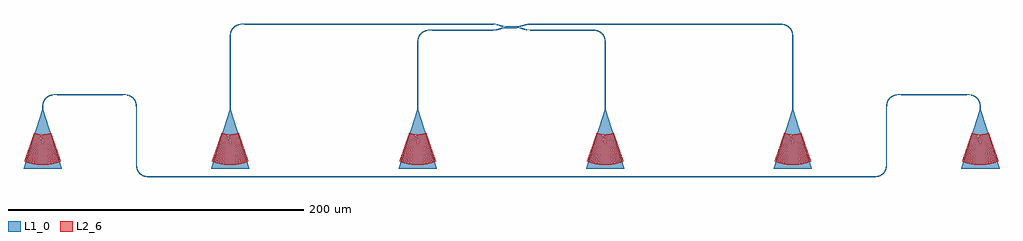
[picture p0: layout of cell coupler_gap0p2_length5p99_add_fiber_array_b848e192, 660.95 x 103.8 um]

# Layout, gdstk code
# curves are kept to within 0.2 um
from math import pi, radians
import gdstk
lib = gdstk.Library(unit=1e-6, precision=1e-09)
def R(c, l, rs):  # rectangles x0, y0, x1, y1
    for r in rs: c.add(gdstk.rectangle(r[:2], r[2:], *l))
def P(c, l, *ps):  # polygons
    for p in ps: c.add(gdstk.Polygon(p, *l))
L1_0 = (1, 0)
L2_6 = (2, 6)

bend_euler_bfe3acbc = lib.new_cell('bend_euler_bfe3acbc')
P(bend_euler_bfe3acbc, L1_0, [(0,-0.25),(2.795,-0.158),(4.746,0.203),(5.688,0.543),(6.455,0.934),(7.285,1.5),(7.928,2.072),(8.5,2.715),(9.066,3.545),(9.457,4.312),(9.797,5.254),(10.158,7.205),(10.25,10),(9.75,10),(9.647,7.119),(9.48,6.048),(9.194,5.01),(8.495,3.569),(7.575,2.425),(6.431,1.505),(4.99,0.806),(3.952,0.52),(2.881,0.353),(0,0.25)])

straight_a6e40dc1 = lib.new_cell('straight_a6e40dc1')
R(straight_a6e40dc1, L1_0, [(0,-0.25,47.75,0.25)])

straight_13383ea3 = lib.new_cell('straight_13383ea3')
R(straight_13383ea3, L1_0, [(0,-0.25,167.5,0.25)])

straight_5fa6602b = lib.new_cell('straight_5fa6602b')
R(straight_5fa6602b, L1_0, [(0,-0.25,43.75,0.25)])

straight_965ffd1e = lib.new_cell('straight_965ffd1e')
R(straight_965ffd1e, L1_0, [(0,-0.25,40.5,0.25)])

straight_5d64b049 = lib.new_cell('straight_5d64b049')
R(straight_5d64b049, L1_0, [(0,-0.25,40.51,0.25)])

straight_f439f1ba = lib.new_cell('straight_f439f1ba')
R(straight_f439f1ba, L1_0, [(0,-0.25,167.51,0.25)])

straight_377e2707 = lib.new_cell('straight_377e2707')
R(straight_377e2707, L1_0, [(0,-0.25,43.5,0.25)])

straight_c7936511 = lib.new_cell('straight_c7936511')
R(straight_c7936511, L1_0, [(0,-0.25,35.552,0.25)])

straight_2bb98091 = lib.new_cell('straight_2bb98091')
R(straight_2bb98091, L1_0, [(0,-0.25,488,0.25)])

grating_coupler_elliptic = lib.new_cell('grating_coupler_elliptical_trenches_taper_angle35')
P(grating_coupler_elliptic, L1_0, [(0.471,-0.25),(0.471,0.25),(40.352,12.973),(40.552,12.973),(40.552,-12.973),(40.352,-12.973)])
P(grating_coupler_elliptic, L2_6, [(16.414,-5.811),(16.3,-5.646),(16.82,-4.153),(17.178,-2.617),(17.351,-1.313),(17.409,0),(17.351,1.313),(17.178,2.617),(16.82,4.153),(16.3,5.646),(16.414,5.811),(16.61,5.77),(16.981,4.76),(17.344,3.465),(17.658,1.611),(17.743,0),(17.658,-1.611),(17.344,-3.465),(16.981,-4.76),(16.61,-5.77)],
  [(17.047,-6.03),(16.933,-5.866),(17.473,-4.315),(17.845,-2.718),(18.025,-1.364),(18.085,0),(18.025,1.364),(17.845,2.718),(17.473,4.315),(16.933,5.866),(17.047,6.03),(17.243,5.988),(17.444,5.469),(17.793,4.407),(18.066,3.325),(18.33,1.671),(18.419,0),(18.33,-1.671),(18.066,-3.325),(17.793,-4.407),(17.444,-5.469),(17.243,-5.988)],
  [(17.68,-6.25),(17.566,-6.086),(18.126,-4.477),(18.512,-2.82),(18.699,-1.415),(18.761,0),(18.699,1.415),(18.512,2.82),(18.126,4.477),(17.566,6.086),(17.68,6.25),(17.876,6.208),(17.982,5.94),(18.363,4.846),(18.665,3.729),(19.003,1.733),(19.095,0),(19.003,-1.733),(18.665,-3.729),(18.363,-4.846),(17.982,-5.94),(17.876,-6.208)],
  [(18.313,-6.469),(18.199,-6.304),(18.779,-4.638),(19.179,-2.922),(19.373,-1.466),(19.437,0),(19.373,1.466),(19.179,2.922),(18.779,4.638),(18.199,6.304),(18.313,6.469),(18.509,6.428),(18.619,6.15),(19.013,5.018),(19.326,3.861),(19.676,1.794),(19.771,0),(19.676,-1.794),(19.326,-3.861),(19.013,-5.018),(18.619,-6.15),(18.509,-6.428)],
  [(18.946,-6.689),(18.832,-6.525),(19.432,-4.8),(19.846,-3.024),(20.046,-1.517),(20.113,0),(20.046,1.517),(19.846,3.024),(19.432,4.8),(18.832,6.525),(18.946,6.689),(19.142,6.647),(19.365,6.07),(19.752,4.892),(20.055,3.69),(20.349,1.855),(20.447,0),(20.349,-1.855),(20.055,-3.69),(19.752,-4.892),(19.365,-6.07),(19.142,-6.647)],
  [(19.579,-6.908),(19.465,-6.744),(20.085,-4.961),(20.513,-3.125),(20.72,-1.568),(20.789,0),(20.72,1.568),(20.513,3.125),(20.085,4.961),(19.465,6.744),(19.579,6.908),(19.775,6.866),(20.005,6.27),(20.405,5.053),(20.718,3.812),(21.021,1.917),(21.123,0),(21.021,-1.917),(20.718,-3.812),(20.405,-5.053),(20.005,-6.27),(19.775,-6.866)],
  [(20.212,-7.128),(20.098,-6.964),(20.738,-5.123),(21.18,-3.227),(21.394,-1.619),(21.465,0),(21.394,1.619),(21.18,3.227),(20.738,5.123),(20.098,6.964),(20.212,7.128),(20.408,7.086),(20.646,6.471),(21.058,5.215),(21.381,3.934),(21.694,1.978),(21.799,0),(21.694,-1.978),(21.381,-3.934),(21.058,-5.215),(20.646,-6.471),(20.408,-7.086)],
  [(20.844,-7.347),(20.73,-7.182),(21.391,-5.284),(21.847,-3.329),(22.068,-1.67),(22.141,0),(22.068,1.67),(21.847,3.329),(21.391,5.284),(20.73,7.182),(20.844,7.347),(21.04,7.306),(21.286,6.672),(21.711,5.376),(22.044,4.056),(22.367,2.039),(22.475,0),(22.367,-2.039),(22.044,-4.056),(21.711,-5.376),(21.286,-6.672),(21.04,-7.306)],
  [(21.477,-7.567),(21.363,-7.402),(22.044,-5.446),(22.514,-3.431),(22.741,-1.721),(22.817,0),(22.741,1.721),(22.514,3.431),(22.044,5.446),(21.363,7.402),(21.477,7.567),(21.673,7.526),(21.926,6.871),(22.364,5.538),(22.707,4.177),(23.04,2.1),(23.151,0),(23.04,-2.1),(22.707,-4.177),(22.364,-5.538),(21.926,-6.871),(21.673,-7.526)],
  [(22.11,-7.786),(21.996,-7.621),(22.697,-5.607),(23.181,-3.533),(23.415,-1.773),(23.493,0),(23.415,1.773),(23.181,3.533),(22.697,5.607),(21.996,7.621),(22.11,7.786),(22.306,7.745),(22.566,7.072),(23.017,5.699),(23.37,4.299),(23.712,2.161),(23.827,0),(23.712,-2.161),(23.37,-4.299),(23.017,-5.699),(22.566,-7.072),(22.306,-7.745)],
  [(22.743,-8.006),(22.629,-7.842),(23.35,-5.769),(23.848,-3.634),(24.089,-1.824),(24.169,0),(24.089,1.824),(23.848,3.634),(23.35,5.769),(22.629,7.842),(22.743,8.006),(22.939,7.964),(23.207,7.273),(23.67,5.861),(24.033,4.421),(24.385,2.223),(24.503,0),(24.385,-2.223),(24.033,-4.421),(23.67,-5.861),(23.207,-7.273),(22.939,-7.964)],
  [(23.376,-8.225),(23.262,-8.06),(24.003,-5.93),(24.515,-3.736),(24.763,-1.875),(24.845,0),(24.763,1.875),(24.515,3.736),(24.003,5.93),(23.262,8.06),(23.376,8.225),(23.572,8.184),(23.847,7.474),(24.323,6.022),(24.696,4.543),(25.058,2.284),(25.179,0),(25.058,-2.284),(24.696,-4.543),(24.323,-6.022),(23.847,-7.474),(23.572,-8.184)],
  [(24.009,-8.445),(23.895,-8.28),(24.657,-6.092),(25.182,-3.838),(25.436,-1.926),(25.521,0),(25.436,1.926),(25.182,3.838),(24.657,6.092),(23.895,8.28),(24.009,8.445),(24.205,8.404),(24.619,7.305),(24.977,6.184),(25.359,4.665),(25.731,2.346),(25.855,0),(25.731,-2.346),(25.359,-4.665),(24.977,-6.184),(24.619,-7.305),(24.205,-8.404)],
  [(24.642,-8.664),(24.528,-8.499),(25.31,-6.253),(25.849,-3.94),(26.11,-1.977),(26.197,0),(26.11,1.977),(25.849,3.94),(25.31,6.253),(24.528,8.499),(24.642,8.664),(24.838,8.623),(25.263,7.496),(25.63,6.345),(26.022,4.787),(26.404,2.407),(26.531,0),(26.404,-2.407),(26.022,-4.787),(25.63,-6.345),(25.263,-7.496),(24.838,-8.623)],
  [(25.275,-8.884),(25.161,-8.72),(25.963,-6.415),(26.516,-4.041),(26.784,-2.028),(26.873,0),(26.784,2.028),(26.516,4.041),(25.963,6.415),(25.161,8.72),(25.275,8.884),(25.471,8.842),(25.907,7.686),(26.283,6.507),(26.686,4.908),(27.076,2.468),(27.207,0),(27.076,-2.468),(26.686,-4.908),(26.283,-6.507),(25.907,-7.686),(25.471,-8.842)],
  [(25.908,-9.103),(25.794,-8.939),(26.237,-7.767),(26.616,-6.576),(26.932,-5.367),(27.183,-4.143),(27.458,-2.079),(27.549,0),(27.458,2.079),(27.183,4.143),(26.932,5.367),(26.616,6.576),(26.237,7.767),(25.794,8.939),(25.908,9.103),(26.104,9.061),(26.551,7.877),(26.936,6.668),(27.349,5.03),(27.749,2.529),(27.849,1.266),(27.883,0),(27.849,-1.266),(27.749,-2.529),(27.349,-5.03),(26.936,-6.668),(26.551,-7.877),(26.104,-9.061)],
  [(26.54,-9.323),(26.426,-9.158),(26.88,-7.958),(27.269,-6.738),(27.593,-5.498),(27.85,-4.245),(28.131,-2.13),(28.225,0),(28.131,2.13),(27.85,4.245),(27.593,5.498),(27.269,6.738),(26.88,7.958),(26.426,9.158),(26.54,9.323),(26.736,9.282),(27.194,8.068),(27.706,6.413),(28.012,5.152),(28.25,3.876),(28.422,2.59),(28.524,1.297),(28.559,0),(28.524,-1.297),(28.422,-2.59),(28.25,-3.876),(28.012,-5.152),(27.706,-6.413),(27.194,-8.068),(26.736,-9.282)],
  [(27.173,-9.542),(27.059,-9.377),(27.524,-8.149),(27.922,-6.9),(28.254,-5.63),(28.517,-4.347),(28.805,-2.181),(28.901,0),(28.805,2.181),(28.517,4.347),(28.254,5.63),(27.922,6.9),(27.524,8.149),(27.059,9.377),(27.173,9.542),(27.369,9.501),(27.838,8.259),(28.362,6.565),(28.675,5.274),(28.919,3.968),(29.095,2.652),(29.199,1.328),(29.235,0),(29.199,-1.328),(29.095,-2.652),(28.919,-3.968),(28.675,-5.274),(28.362,-6.565),(27.838,-8.259),(27.369,-9.501)],
  [(27.806,-9.762),(27.692,-9.597),(28.168,-8.339),(28.575,-7.061),(28.914,-5.762),(29.184,-4.448),(29.479,-2.232),(29.577,0),(29.479,2.232),(29.184,4.448),(28.914,5.762),(28.575,7.061),(28.168,8.339),(27.692,9.597),(27.806,9.762),(28.002,9.721),(28.482,8.449),(28.895,7.153),(29.338,5.396),(29.587,4.06),(29.767,2.713),(29.874,1.358),(29.911,0),(29.874,-1.358),(29.767,-2.713),(29.587,-4.06),(29.338,-5.396),(28.895,-7.153),(28.482,-8.449),(28.002,-9.721)],
  [(28.439,-9.981),(28.325,-9.816),(28.812,-8.53),(29.228,-7.223),(29.575,-5.894),(29.851,-4.55),(30.153,-2.283),(30.253,0),(30.153,2.283),(29.851,4.55),(29.575,5.894),(29.228,7.223),(28.812,8.53),(28.325,9.816),(28.439,9.981),(28.635,9.94),(29.126,8.64),(29.548,7.315),(30.001,5.518),(30.256,4.151),(30.44,2.774),(30.549,1.389),(30.587,0),(30.549,-1.389),(30.44,-2.774),(30.256,-4.151),(30.001,-5.518),(29.673,-6.869),(29.126,-8.64),(28.635,-9.94)],
  [(29.072,-10.201),(28.958,-10.037),(29.455,-8.721),(29.881,-7.384),(30.236,-6.026),(30.518,-4.652),(30.826,-2.334),(30.929,0),(30.826,2.334),(30.518,4.652),(30.236,6.026),(29.881,7.384),(29.455,8.721),(28.958,10.037),(29.072,10.201),(29.268,10.159),(29.769,8.831),(30.329,7.02),(30.664,5.639),(30.925,4.243),(31.113,2.836),(31.225,1.42),(31.263,0),(31.225,-1.42),(31.113,-2.836),(30.925,-4.243),(30.664,-5.639),(30.329,-7.02),(29.769,-8.831),(29.268,-10.159)],
  [(29.705,-10.42),(29.591,-10.255),(30.099,-8.912),(30.534,-7.546),(30.897,-6.158),(31.185,-4.754),(31.5,-2.385),(31.605,0),(31.5,2.385),(31.185,4.754),(30.897,6.158),(30.534,7.546),(30.099,8.912),(29.591,10.255),(29.705,10.42),(29.901,10.379),(30.413,9.022),(30.985,7.172),(31.327,5.761),(31.593,4.335),(31.786,2.896),(31.9,1.45),(31.939,0),(31.9,-1.45),(31.786,-2.896),(31.593,-4.335),(31.327,-5.761),(30.985,-7.172),(30.413,-9.022),(29.901,-10.379)],
  [(30.338,-10.64),(30.224,-10.475),(30.743,-9.103),(31.187,-7.707),(31.558,-6.289),(31.852,-4.855),(32.174,-2.437),(32.281,0),(32.174,2.437),(31.852,4.855),(31.558,6.289),(31.187,7.707),(30.743,9.103),(30.224,10.475),(30.338,10.64),(30.534,10.599),(31.057,9.213),(31.641,7.324),(31.99,5.883),(32.262,4.426),(32.458,2.958),(32.575,1.481),(32.615,0),(32.575,-1.481),(32.458,-2.958),(32.262,-4.426),(31.99,-5.883),(31.641,-7.324),(31.057,-9.213),(30.534,-10.599)],
  [(30.971,-10.859),(30.857,-10.695),(31.387,-9.293),(31.84,-7.869),(32.219,-6.421),(32.519,-4.957),(32.848,-2.488),(32.957,0),(32.848,2.488),(32.519,4.957),(32.219,6.421),(31.84,7.869),(31.387,9.293),(30.857,10.695),(30.971,10.859),(31.167,10.817),(31.701,9.403),(32.297,7.476),(32.653,6.005),(32.931,4.518),(33.131,3.019),(33.25,1.512),(33.291,0),(33.25,-1.512),(33.131,-3.019),(32.931,-4.518),(32.653,-6.005),(32.297,-7.476),(31.701,-9.403),(31.167,-10.817)],
  [(31.604,-11.079),(31.49,-10.915),(32.03,-9.484),(32.493,-8.03),(32.879,-6.553),(33.186,-5.059),(33.521,-2.539),(33.633,0),(33.521,2.539),(33.186,5.059),(32.879,6.553),(32.493,8.03),(32.03,9.484),(31.49,10.915),(31.604,11.079),(31.8,11.037),(32.344,9.594),(32.952,7.627),(33.316,6.127),(33.6,4.61),(33.804,3.081),(33.925,1.542),(33.967,0),(33.925,-1.542),(33.804,-3.081),(33.6,-4.61),(33.316,-6.127),(32.952,-7.627),(32.344,-9.594),(31.8,-11.037)],
  [(32.237,-11.298),(32.123,-11.133),(32.674,-9.675),(33.146,-8.192),(33.54,-6.685),(33.853,-5.161),(34.195,-2.59),(34.309,0),(34.195,2.59),(33.853,5.161),(33.54,6.685),(33.146,8.192),(32.674,9.675),(32.123,11.133),(32.237,11.298),(32.433,11.257),(32.988,9.785),(33.608,7.779),(33.979,6.249),(34.268,4.701),(34.477,3.142),(34.601,1.573),(34.643,0),(34.601,-1.573),(34.477,-3.142),(34.268,-4.701),(33.979,-6.249),(33.608,-7.779),(32.988,-9.785),(32.433,-11.257)],
  [(32.869,-11.518),(32.755,-11.353),(33.318,-9.866),(33.799,-8.353),(34.201,-6.817),(34.52,-5.262),(34.869,-2.641),(34.985,0),(34.869,2.641),(34.52,5.262),(34.201,6.817),(33.799,8.353),(33.318,9.866),(32.755,11.353),(32.869,11.518),(33.065,11.477),(33.632,9.976),(34.264,7.931),(34.642,6.37),(34.937,4.793),(35.149,3.203),(35.276,1.604),(35.319,0),(35.276,-1.604),(35.149,-3.203),(34.937,-4.793),(34.642,-6.37),(34.264,-7.931),(33.632,-9.976),(33.065,-11.477)],
  [(33.502,-11.738),(33.388,-11.573),(33.962,-10.056),(34.453,-8.515),(34.862,-6.949),(35.187,-5.364),(35.543,-2.692),(35.661,0),(35.543,2.692),(35.187,5.364),(34.862,6.949),(34.453,8.515),(33.962,10.056),(33.388,11.573),(33.502,11.738),(33.698,11.697),(34.276,10.166),(34.773,8.607),(35.305,6.492),(35.606,4.885),(35.822,3.264),(35.951,1.634),(35.995,0),(35.951,-1.634),(35.822,-3.264),(35.606,-4.885),(35.305,-6.492),(34.773,-8.607),(34.276,-10.166),(33.698,-11.697)],
  [(34.135,-11.957),(34.021,-11.792),(34.605,-10.247),(35.106,-8.676),(35.523,-7.08),(35.854,-5.466),(36.216,-2.743),(36.337,0),(36.216,2.743),(35.854,5.466),(35.523,7.08),(35.106,8.676),(34.605,10.247),(34.021,11.792),(34.135,11.957),(34.331,11.916),(34.919,10.357),(35.576,8.233),(35.968,6.614),(36.274,4.976),(36.495,3.325),(36.626,1.665),(36.671,0),(36.626,-1.665),(36.495,-3.325),(36.274,-4.976),(35.968,-6.614),(35.576,-8.233),(34.919,-10.357),(34.331,-11.916)],
  [(34.768,-12.177),(34.654,-12.013),(35.249,-10.438),(35.759,-8.838),(36.183,-7.212),(36.521,-5.568),(36.89,-2.794),(37.013,0),(36.89,2.794),(36.521,5.568),(36.183,7.212),(35.759,8.838),(35.249,10.438),(34.654,12.013),(34.768,12.177),(34.964,12.135),(35.563,10.548),(36.232,8.385),(36.631,6.736),(36.943,5.068),(37.168,3.387),(37.301,1.696),(37.347,0),(37.301,-1.696),(37.168,-3.387),(36.943,-5.068),(36.631,-6.736),(36.232,-8.385),(35.563,-10.548),(34.964,-12.135)],
  [(35.401,-12.396),(35.287,-12.231),(35.893,-10.629),(36.412,-8.999),(36.844,-7.344),(37.188,-5.669),(37.564,-2.845),(37.689,0),(37.564,2.845),(37.188,5.669),(36.844,7.344),(36.412,8.999),(35.893,10.629),(35.287,12.231),(35.401,12.396),(35.597,12.355),(36.207,10.739),(36.732,9.091),(37.295,6.858),(37.612,5.16),(37.84,3.448),(37.977,1.726),(38.023,0),(37.977,-1.726),(37.84,-3.448),(37.612,-5.16),(37.295,-6.858),(36.732,-9.091),(36.207,-10.739),(35.597,-12.355)])

coupler_gap0p2_length5p9 = lib.new_cell('coupler_gap0p2_length5p99')
R(coupler_gap0p2_length5p9, L1_0, [(0,-0.25,5.99,0.25), (0,0.45,5.99,0.95)])
P(coupler_gap0p2_length5p9, L1_0, [(0,0.25),(-1.404,0.201),(-2.665,0.052),(-3.967,-0.24),(-7.033,-1.138),(-8.392,-1.333),(-10,-1.4),(-10,-1.9),(-8.596,-1.851),(-7.335,-1.702),(-6.033,-1.41),(-2.967,-0.512),(-1.608,-0.317),(0,-0.25)],
  [(0,0.45),(-1.404,0.499),(-2.665,0.648),(-3.967,0.94),(-7.033,1.838),(-8.392,2.033),(-10,2.1),(-10,2.6),(-8.596,2.551),(-7.335,2.402),(-6.033,2.11),(-2.967,1.212),(-1.608,1.017),(0,0.95)],
  [(5.99,0.45),(7.394,0.499),(8.655,0.648),(9.957,0.94),(13.023,1.838),(14.382,2.033),(15.99,2.1),(15.99,2.6),(14.586,2.551),(13.325,2.402),(12.023,2.11),(8.957,1.212),(7.598,1.017),(5.99,0.95)],
  [(5.99,0.25),(7.394,0.201),(8.655,0.052),(9.957,-0.24),(13.023,-1.138),(14.382,-1.333),(15.99,-1.4),(15.99,-1.9),(14.586,-1.851),(13.325,-1.702),(12.023,-1.41),(8.957,-0.512),(7.598,-0.317),(5.99,-0.25)])

c_coupler_gap0p2_length5p9 = lib.new_cell('coupler_gap0p2_length5p99_add_fiber_array_b848e192')
c_coupler_gap0p2_length5p9.add(gdstk.Reference(bend_euler_bfe3acbc, (-187.5,-7.65), rotation=pi/2, x_reflection=True))
c_coupler_gap0p2_length5p9.add(gdstk.Reference(straight_a6e40dc1, (-187.5,-55.4), rotation=pi/2))
c_coupler_gap0p2_length5p9.add(gdstk.Reference(straight_13383ea3, (-177.5,2.35)))
c_coupler_gap0p2_length5p9.add(gdstk.Reference(bend_euler_bfe3acbc, (-60.5,-11.65), rotation=pi/2, x_reflection=True))
c_coupler_gap0p2_length5p9.add(gdstk.Reference(straight_5fa6602b, (-60.5,-55.4), rotation=pi/2))
c_coupler_gap0p2_length5p9.add(gdstk.Reference(straight_965ffd1e, (-50.5,-1.65)))
c_coupler_gap0p2_length5p9.add(gdstk.Reference(bend_euler_bfe3acbc, (66.5,-11.65), rotation=pi/2))
c_coupler_gap0p2_length5p9.add(gdstk.Reference(straight_5fa6602b, (66.5,-55.4), rotation=pi/2))
c_coupler_gap0p2_length5p9.add(gdstk.Reference(straight_5d64b049, (56.5,-1.65), rotation=pi))
c_coupler_gap0p2_length5p9.add(gdstk.Reference(bend_euler_bfe3acbc, (193.5,-7.65), rotation=pi/2))
c_coupler_gap0p2_length5p9.add(gdstk.Reference(straight_a6e40dc1, (193.5,-55.4), rotation=pi/2))
c_coupler_gap0p2_length5p9.add(gdstk.Reference(straight_f439f1ba, (183.5,2.35), rotation=pi))
c_coupler_gap0p2_length5p9.add(gdstk.Reference(bend_euler_bfe3acbc, (-314.5,-55.4), rotation=pi/2, x_reflection=True))
c_coupler_gap0p2_length5p9.add(gdstk.Reference(bend_euler_bfe3acbc, (-261,-45.4), x_reflection=True))
c_coupler_gap0p2_length5p9.add(gdstk.Reference(bend_euler_bfe3acbc, (-251,-90.952), rotation=3*pi/2))
c_coupler_gap0p2_length5p9.add(gdstk.Reference(bend_euler_bfe3acbc, (247,-100.952)))
c_coupler_gap0p2_length5p9.add(gdstk.Reference(bend_euler_bfe3acbc, (257,-55.4), rotation=pi/2, x_reflection=True))
c_coupler_gap0p2_length5p9.add(gdstk.Reference(bend_euler_bfe3acbc, (310.5,-45.4), x_reflection=True))
c_coupler_gap0p2_length5p9.add(gdstk.Reference(straight_377e2707, (-304.5,-45.4)))
c_coupler_gap0p2_length5p9.add(gdstk.Reference(straight_c7936511, (-251,-55.4), rotation=3*pi/2))
c_coupler_gap0p2_length5p9.add(gdstk.Reference(straight_2bb98091, (-241,-100.952)))
c_coupler_gap0p2_length5p9.add(gdstk.Reference(straight_c7936511, (257,-90.952), rotation=pi/2))
c_coupler_gap0p2_length5p9.add(gdstk.Reference(straight_377e2707, (267,-45.4)))
c_coupler_gap0p2_length5p9.add(gdstk.Reference(grating_coupler_elliptic, (-187.5,-54.929), rotation=3*pi/2))
c_coupler_gap0p2_length5p9.add(gdstk.Reference(grating_coupler_elliptic, (-60.5,-54.929), rotation=3*pi/2))
c_coupler_gap0p2_length5p9.add(gdstk.Reference(grating_coupler_elliptic, (66.5,-54.929), rotation=3*pi/2))
c_coupler_gap0p2_length5p9.add(gdstk.Reference(grating_coupler_elliptic, (193.5,-54.929), rotation=3*pi/2))
c_coupler_gap0p2_length5p9.add(gdstk.Reference(grating_coupler_elliptic, (-314.5,-54.929), rotation=3*pi/2))
c_coupler_gap0p2_length5p9.add(gdstk.Reference(grating_coupler_elliptic, (320.5,-54.929), rotation=3*pi/2))
c_coupler_gap0p2_length5p9.add(gdstk.Reference(coupler_gap0p2_length5p9, (0,0)))

lib.write_gds('coupler_gap0p2_length5p99_add_fiber_array_b848e192.gds')
